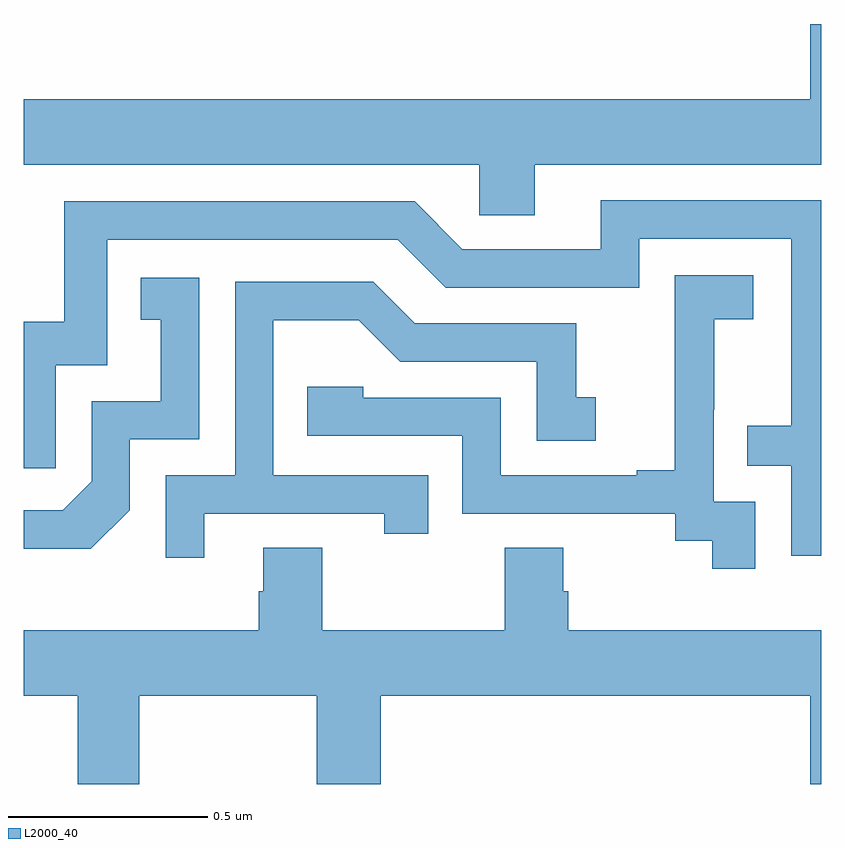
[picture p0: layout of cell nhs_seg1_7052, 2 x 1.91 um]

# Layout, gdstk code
import gdstk
lib = gdstk.Library(unit=1e-6, precision=1e-09)
def P(c, l, *ps):  # polygons
    for p in ps: c.add(gdstk.Polygon(p, *l))
L2000_40 = (2000, 40)

nhs_seg1_7052 = lib.new_cell('nhs_seg1_7052')
P(nhs_seg1_7052, L2000_40, [(200.281,531.752),(201,531.752),(201,532.105),(200.972,532.105),(200.972,531.916),(199,531.916),(199,531.752),(200.142,531.752),(200.142,531.625),(200.281,531.625)],
  [(201,531.663),(200.447,531.663),(200.447,531.54),(200.1,531.54),(199.98,531.66),(199.101,531.66),(199.101,531.358),(199,531.358),(199,530.991),(199.08,530.991),(199.08,531.249),(199.209,531.249),(199.209,531.564),(199.938,531.564),(200.058,531.444),(200.544,531.444),(200.544,531.567),(200.925,531.567),(200.925,531.098),(200.815,531.098),(200.815,530.997),(200.925,530.997),(200.925,530.772),(201,530.772)],
  [(200.835,530.907),(200.73,530.907),(200.73,531.137),(200.732,531.137),(200.732,531.365),(200.83,531.365),(200.83,531.475),(200.632,531.475),(200.632,531.269),(200.633,531.269),(200.633,530.986),(200.537,530.986),(200.537,530.973),(200.196,530.973),(200.196,531.168),(199.851,531.168),(199.851,531.195),(199.711,531.195),(199.711,531.072),(200.1,531.072),(200.1,530.877),(200.634,530.877),(200.634,530.809),(200.727,530.809),(200.727,530.739),(200.835,530.739)],
  [(199.266,530.886),(199.266,531.063),(199.44,531.063),(199.44,531.469),(199.294,531.469),(199.294,531.363),(199.343,531.363),(199.343,531.159),(199.17,531.159),(199.17,530.958),(199.098,530.886),(199,530.886),(199,530.789),(199.168,530.789)],
  [(199.453,530.877),(199.904,530.877),(199.904,530.826),(200.015,530.826),(200.015,530.973),(199.626,530.973),(199.626,531.362),(199.84,531.362),(199.944,531.258),(200.286,531.258),(200.286,531.06),(200.434,531.06),(200.434,531.169),(200.385,531.169),(200.385,531.354),(199.981,531.354),(199.876,531.459),(199.53,531.459),(199.53,530.973),(199.356,530.973),(199.356,530.766),(199.453,530.766)],
  [(199.601,530.682),(199.589,530.682),(199.589,530.584),(199,530.584),(199,530.42),(199.135,530.42),(199.135,530.199),(199.29,530.199),(199.29,530.42),(199.735,530.42),(199.735,530.199),(199.895,530.199),(199.895,530.42),(200.972,530.42),(200.972,530.199),(201,530.199),(201,530.584),(200.366,530.584),(200.366,530.682),(200.353,530.682),(200.353,530.792),(200.206,530.792),(200.206,530.584),(199.749,530.584),(199.749,530.792),(199.601,530.792)])

lib.write_gds('nhs_seg1_7052.gds')
